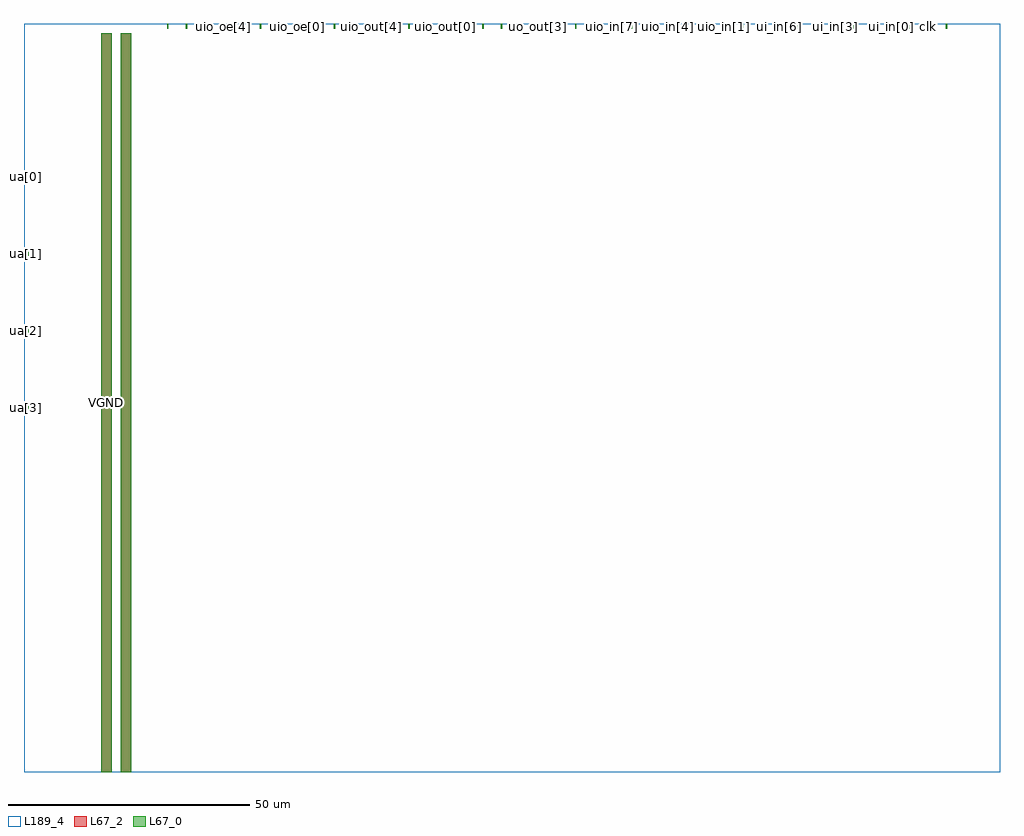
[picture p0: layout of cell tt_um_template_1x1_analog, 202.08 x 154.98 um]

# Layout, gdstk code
import gdstk
lib = gdstk.Library(unit=1e-6, precision=1e-09)
def R(c, l, rs):  # rectangles x0, y0, x1, y1
    for r in rs: c.add(gdstk.rectangle(r[:2], r[2:], *l))
def A(c, l, x, y, w, h, nx, ny, dx, dy):  # array of equal rectangles
    R(c, l, [(x+i*dx, y+j*dy, x+i*dx+w, y+j*dy+h) for i in range(nx) for j in range(ny)])
L67_0 = (67, 0)
L67_2 = (67, 2)
L189_4 = (189, 4)

tt_um_template_1x1_analo = lib.new_cell('tt_um_template_1x1_analog')
A(tt_um_template_1x1_analo, L67_0, 0, 74.98, 1, 0.9, 1, 4, 0, 16)
A(tt_um_template_1x1_analo, L67_0, 29.61, 153.98, 0.3, 1, 43, 1, 3.84, 0)
R(tt_um_template_1x1_analo, L67_0, [(16,0,18.2,152.98), (20,0,22.2,152.98)])
A(tt_um_template_1x1_analo, L67_2, 0, 74.98, 1, 0.9, 1, 4, 0, 16)
A(tt_um_template_1x1_analo, L67_2, 29.61, 153.98, 0.3, 1, 43, 1, 3.84, 0)
R(tt_um_template_1x1_analo, L67_2, [(16,0,18.2,152.98), (20,0,22.2,152.98)])
R(tt_um_template_1x1_analo, L189_4, [(0,0,202.08,154.98)])
tt_um_template_1x1_analo.add(gdstk.Label('clk', (187.2,154.48), layer=67, texttype=25))
tt_um_template_1x1_analo.add(gdstk.Label('ena', (191.04,154.48), layer=67, texttype=25))
tt_um_template_1x1_analo.add(gdstk.Label('rst_n', (183.36,154.48), layer=67, texttype=25))
tt_um_template_1x1_analo.add(gdstk.Label('ui_in[0]', (179.52,154.48), layer=67, texttype=25))
tt_um_template_1x1_analo.add(gdstk.Label('ui_in[1]', (175.68,154.48), layer=67, texttype=25))
tt_um_template_1x1_analo.add(gdstk.Label('ui_in[2]', (171.84,154.48), layer=67, texttype=25))
tt_um_template_1x1_analo.add(gdstk.Label('ui_in[3]', (168,154.48), layer=67, texttype=25))
tt_um_template_1x1_analo.add(gdstk.Label('ui_in[4]', (164.16,154.48), layer=67, texttype=25))
tt_um_template_1x1_analo.add(gdstk.Label('ui_in[5]', (160.32,154.48), layer=67, texttype=25))
tt_um_template_1x1_analo.add(gdstk.Label('ui_in[6]', (156.48,154.48), layer=67, texttype=25))
tt_um_template_1x1_analo.add(gdstk.Label('ui_in[7]', (152.64,154.48), layer=67, texttype=25))
tt_um_template_1x1_analo.add(gdstk.Label('uio_in[0]', (148.8,154.48), layer=67, texttype=25))
tt_um_template_1x1_analo.add(gdstk.Label('uio_in[1]', (144.96,154.48), layer=67, texttype=25))
tt_um_template_1x1_analo.add(gdstk.Label('uio_in[2]', (141.12,154.48), layer=67, texttype=25))
tt_um_template_1x1_analo.add(gdstk.Label('uio_in[3]', (137.28,154.48), layer=67, texttype=25))
tt_um_template_1x1_analo.add(gdstk.Label('uio_in[4]', (133.44,154.48), layer=67, texttype=25))
tt_um_template_1x1_analo.add(gdstk.Label('uio_in[5]', (129.6,154.48), layer=67, texttype=25))
tt_um_template_1x1_analo.add(gdstk.Label('uio_in[6]', (125.76,154.48), layer=67, texttype=25))
tt_um_template_1x1_analo.add(gdstk.Label('uio_in[7]', (121.92,154.48), layer=67, texttype=25))
tt_um_template_1x1_analo.add(gdstk.Label('uio_oe[0]', (56.64,154.48), layer=67, texttype=25))
tt_um_template_1x1_analo.add(gdstk.Label('uio_oe[1]', (52.8,154.48), layer=67, texttype=25))
tt_um_template_1x1_analo.add(gdstk.Label('uio_oe[2]', (48.96,154.48), layer=67, texttype=25))
tt_um_template_1x1_analo.add(gdstk.Label('uio_oe[3]', (45.12,154.48), layer=67, texttype=25))
tt_um_template_1x1_analo.add(gdstk.Label('uio_oe[4]', (41.28,154.48), layer=67, texttype=25))
tt_um_template_1x1_analo.add(gdstk.Label('uio_oe[5]', (37.44,154.48), layer=67, texttype=25))
tt_um_template_1x1_analo.add(gdstk.Label('uio_oe[6]', (33.6,154.48), layer=67, texttype=25))
tt_um_template_1x1_analo.add(gdstk.Label('uio_oe[7]', (29.76,154.48), layer=67, texttype=25))
tt_um_template_1x1_analo.add(gdstk.Label('uio_out[0]', (87.36,154.48), layer=67, texttype=25))
tt_um_template_1x1_analo.add(gdstk.Label('uio_out[1]', (83.52,154.48), layer=67, texttype=25))
tt_um_template_1x1_analo.add(gdstk.Label('uio_out[2]', (79.68,154.48), layer=67, texttype=25))
tt_um_template_1x1_analo.add(gdstk.Label('uio_out[3]', (75.84,154.48), layer=67, texttype=25))
tt_um_template_1x1_analo.add(gdstk.Label('uio_out[4]', (72,154.48), layer=67, texttype=25))
tt_um_template_1x1_analo.add(gdstk.Label('uio_out[5]', (68.16,154.48), layer=67, texttype=25))
tt_um_template_1x1_analo.add(gdstk.Label('uio_out[6]', (64.32,154.48), layer=67, texttype=25))
tt_um_template_1x1_analo.add(gdstk.Label('uio_out[7]', (60.48,154.48), layer=67, texttype=25))
tt_um_template_1x1_analo.add(gdstk.Label('uo_out[0]', (118.08,154.48), layer=67, texttype=25))
tt_um_template_1x1_analo.add(gdstk.Label('uo_out[1]', (114.24,154.48), layer=67, texttype=25))
tt_um_template_1x1_analo.add(gdstk.Label('uo_out[2]', (110.4,154.48), layer=67, texttype=25))
tt_um_template_1x1_analo.add(gdstk.Label('uo_out[3]', (106.56,154.48), layer=67, texttype=25))
tt_um_template_1x1_analo.add(gdstk.Label('uo_out[4]', (102.72,154.48), layer=67, texttype=25))
tt_um_template_1x1_analo.add(gdstk.Label('uo_out[5]', (98.88,154.48), layer=67, texttype=25))
tt_um_template_1x1_analo.add(gdstk.Label('uo_out[6]', (95.04,154.48), layer=67, texttype=25))
tt_um_template_1x1_analo.add(gdstk.Label('uo_out[7]', (91.2,154.48), layer=67, texttype=25))
tt_um_template_1x1_analo.add(gdstk.Label('ua[0]', (0.5,123.43), layer=67, texttype=25))
tt_um_template_1x1_analo.add(gdstk.Label('ua[1]', (0.5,107.43), layer=67, texttype=25))
tt_um_template_1x1_analo.add(gdstk.Label('ua[2]', (0.5,91.43), layer=67, texttype=25))
tt_um_template_1x1_analo.add(gdstk.Label('ua[3]', (0.5,75.43), layer=67, texttype=25))
tt_um_template_1x1_analo.add(gdstk.Label('VGND', (17.1,76.49), layer=67, texttype=25))
tt_um_template_1x1_analo.add(gdstk.Label('VPWR', (21.1,76.49), layer=67, texttype=25))

lib.write_gds('tt_um_template_1x1_analog.gds')
